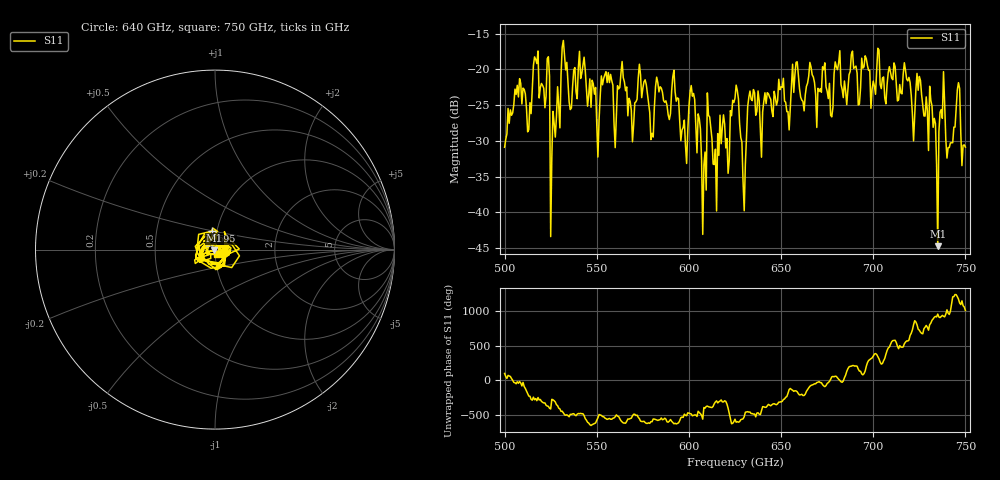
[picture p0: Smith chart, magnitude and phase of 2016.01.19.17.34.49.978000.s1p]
!Created with skrf (http://scikit-rf.org).
# GHz S RI R 50.0
!freq ReS11 ImS11
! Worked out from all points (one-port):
!   401 points, 500 GHz to 750 GHz, reference 50 ohm
!   lowest |S11| = -44.7 dB at 735 GHz (marker M1), VSWR 1.01, Z = 49.7 - j0.495 ohm
!   |S11| at or under -10 dB: start of sweep to end of sweep
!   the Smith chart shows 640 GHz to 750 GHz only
!   S11 on the Smith chart (normalised r, x): 640 GHz: 1.10, -0.03; 695 GHz: 0.95, +0.20; 750 GHz: 1.02, -0.05
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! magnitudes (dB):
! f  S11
! 500 GHz  -30.9
! 506.9 GHz  -22.2
! 513.1 GHz  -28.4
! 516.9 GHz  -18.6
! 523.1 GHz  -18.5
! 526.2 GHz  -25.9
! 531.2 GHz  -16.9
! 550.6 GHz  -32.3
! 562.5 GHz  -22.5
! 580 GHz  -28.9
! 583.1 GHz  -21.8
! 593.8 GHz  -24.0
! 598.1 GHz  -30.6
! 601.9 GHz  -23.8
! 608.1 GHz  -33.4
! 611.2 GHz  -26.6
! 614.4 GHz  -31.2
! 625 GHz  -24.0
! 629.4 GHz  -35.7
! 633.8 GHz  -24.2
! 640 GHz  -25.9
! 656.2 GHz  -19.3
! 687.5 GHz  -20.3
! 695 GHz  -19.6
! 718.8 GHz  -21.6
! 735 GHz  -44.7
! 737.5 GHz  -26.9
! 750 GHz  -30.9
